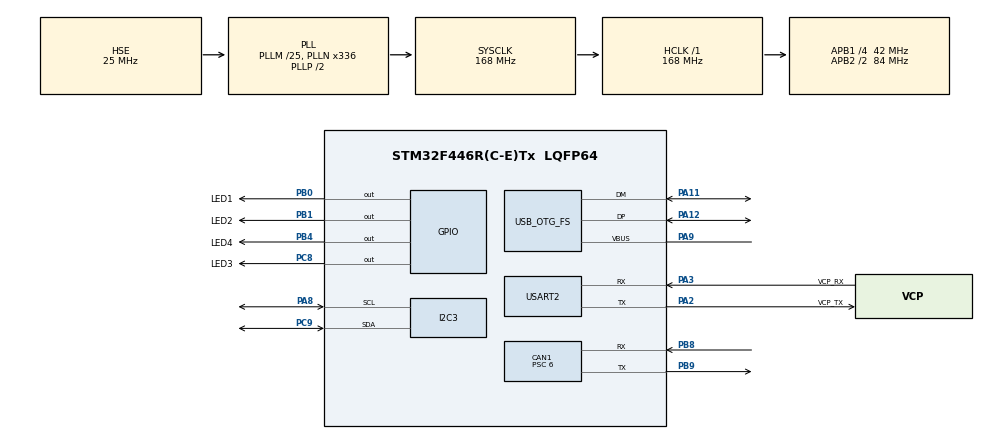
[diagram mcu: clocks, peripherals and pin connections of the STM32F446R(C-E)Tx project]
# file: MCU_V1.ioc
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CAN1.ABOM=ENABLE
CAN1.BS1=CAN_BS1_11TQ
CAN1.BS2=CAN_BS2_2TQ
CAN1.CalculateBaudRate=500000
CAN1.CalculateTimeBit=2000
CAN1.CalculateTimeQuantum=142.85714285714286
CAN1.NART=ENABLE
CAN1.Prescaler=6
Mcu.Family=STM32F4
Mcu.Name=STM32F446R(C-E)Tx
Mcu.Package=LQFP64
NVIC.CAN1_RX0_IRQn=true\:0\:0\:false\:false\:true\:true\:true\:true
NVIC.OTG_FS_IRQn=true\:0\:0\:false\:false\:true\:false\:true\:true
NVIC.PriorityGroup=NVIC_PRIORITYGROUP_4
PA11.Mode=Device_Only
PA11.Signal=USB_OTG_FS_DM
PA12.Mode=Device_Only
PA12.Signal=USB_OTG_FS_DP
PA13.Mode=Trace_Asynchronous_SW
PA13.Signal=SYS_JTMS-SWDIO
PA14.Mode=Trace_Asynchronous_SW
PA14.Signal=SYS_JTCK-SWCLK
PA2.GPIO_Label=VCP_TX
PA2.Mode=Asynchronous
PA2.Signal=USART2_TX
PA3.GPIO_Label=VCP_RX
PA3.Mode=Asynchronous
PA3.Signal=USART2_RX
PA8.GPIO_Mode=GPIO_MODE_AF_OD
PA8.GPIO_Speed=GPIO_SPEED_FREQ_MEDIUM
PA8.Mode=I2C
PA8.Signal=I2C3_SCL
PA9.Mode=Activate_VBUS
PA9.Signal=USB_OTG_FS_VBUS
PB0.GPIO_Label=LED1
PB0.PinState=GPIO_PIN_SET
PB0.Signal=GPIO_Output
PB1.GPIO_Label=LED2
PB1.PinState=GPIO_PIN_SET
PB1.Signal=GPIO_Output
PB3.Mode=Trace_Asynchronous_SW
PB3.Signal=SYS_JTDO-SWO
PB4.GPIO_Label=LED4
PB4.PinState=GPIO_PIN_SET
PB4.Signal=GPIO_Output
PB8.Mode=CAN_Activate
PB8.Signal=CAN1_RX
PB9.Mode=CAN_Activate
PB9.Signal=CAN1_TX
PC8.GPIO_Label=LED3
PC8.PinState=GPIO_PIN_SET
PC8.Signal=GPIO_Output
PC9.GPIO_Speed=GPIO_SPEED_FREQ_MEDIUM
PC9.Mode=I2C
PC9.Signal=I2C3_SDA
PH0-OSC_IN.Mode=HSE-External-Oscillator
PH0-OSC_IN.Signal=RCC_OSC_IN
PH1-OSC_OUT.Mode=HSE-External-Oscillator
PH1-OSC_OUT.Signal=RCC_OSC_OUT
ProjectManager.HeapSize=0x200
ProjectManager.StackSize=0x400
ProjectManager.TargetToolchain=STM32CubeIDE
RCC.AHBFreq_Value=168000000
RCC.APB1CLKDivider=RCC_HCLK_DIV4
RCC.APB1Freq_Value=42000000
RCC.APB1TimFreq_Value=84000000
RCC.APB2CLKDivider=RCC_HCLK_DIV2
RCC.APB2Freq_Value=84000000
RCC.APB2TimFreq_Value=168000000
RCC.CortexFreq_Value=168000000
RCC.HCLKFreq_Value=168000000
RCC.PLLM=25
RCC.PLLN=336
RCC.PLLQ=7
RCC.PLLSourceVirtual=RCC_PLLSOURCE_HSE
RCC.SYSCLKFreq_VALUE=168000000
RCC.SYSCLKSource=RCC_SYSCLKSOURCE_PLLCLK
RCC.USBFreq_Value=48000000
RCC.VCOOutputFreq_Value=336000000
USART2.VirtualMode=VM_ASYNC
USB_DEVICE.CLASS_NAME_FS=CDC
USB_DEVICE.VirtualMode-CDC_FS=Cdc
USB_DEVICE.VirtualModeFS=Cdc_FS
USB_OTG_FS.VirtualMode=Device_Only
VP_USB_DEVICE_VS_USB_DEVICE_CDC_FS.Mode=CDC_FS
board=custom

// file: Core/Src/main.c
/* USER CODE BEGIN Header */
/**
  ******************************************************************************
  * @file           : main.c
  * @brief          : Main program body
  ******************************************************************************
  * @attention
  *
  * Copyright (c) 2026 STMicroelectronics.
  * All rights reserved.
  *
  * This software is licensed under terms that can be found in the LICENSE file
  * in the root directory of this software component.
  * If no LICENSE file comes with this software, it is provided AS-IS.
  *
  ******************************************************************************
  */
/* USER CODE END Header */
#include "main.h"
#include "can.h"
#include "i2c.h"
#include "usart.h"
#include "usb_device.h"
#include "gpio.h"
#include "oled.h"
#include "usb.h"

/* USER CODE BEGIN Includes */
#include "app_stats.h"
#include "app_stress_test.h"
#include "app_protocol.h"
/* USER CODE END Includes */

extern I2C_HandleTypeDef hi2c3; // External declaration for I2C3 handle
OLED_HandleTypeDef holed;

void SystemClock_Config(void);

/* USER CODE BEGIN 0 */
// DWT cycle counter for microsecond timing
#define DWT_CONTROL *(volatile uint32_t*)0xE0001000
#define DWT_CYCCNT  *(volatile uint32_t*)0xE0001004
#define CPU_FREQUENCY_MHZ (SystemCoreClock / 1000000)
/* USER CODE END 0 */

int main(void)
{

  /* MCU Configuration--------------------------------------------------------*/

  /* Reset of all peripherals, Initializes the Flash interface and the Systick. */
  HAL_Init();

  /* Configure the system clock */
  SystemClock_Config();

  /* Initialize all configured peripherals */
  MX_GPIO_Init();
  MX_CAN1_Init();
  MX_I2C3_Init();
  MX_USART2_UART_Init();
  MX_USB_DEVICE_Init();
  /* USER CODE BEGIN 2 */
  // DWT cycle counter enable
  CoreDebug->DEMCR |= CoreDebug_DEMCR_TRCENA_Msk;
  DWT_CONTROL |= 1;

  // Init custom modules
  stats_init();
  protocol_init();
  stress_test_init();

  // Clear OLED and show startup message
  oled_Clear();
  oled_SetCursor(0, 0);
  oled_WriteString("Stress Test FW", Font_11x18, White);
  oled_SetCursor(0, 20);
  oled_WriteString("Starting...", Font_7x10, White);
  oled_UpdateScreen();
  HAL_Delay(1500);

  // Start CAN Peripheral
  if (HAL_CAN_Start(&hcan1) != HAL_OK)
  {
    Error_Handler();
  }

  // Activate CAN RX interrupt
  if (HAL_CAN_ActivateNotification(&hcan1, CAN_IT_RX_FIFO0_MSG_PENDING) != HAL_OK)
  {
    Error_Handler();
  }

  // Activate CAN Error interrupts
  if (HAL_CAN_ActivateNotification(&hcan1, CAN_IT_ERROR_WARNING | CAN_IT_ERROR_PASSIVE | CAN_IT_BUS_OFF | CAN_IT_LAST_ERROR_CODE | CAN_IT_ERROR) != HAL_OK)
  {
      Error_Handler();
  }
  /* USER CODE END 2 */

  /* Infinite loop */
  /* USER CODE BEGIN WHILE */
  uint32_t last_tick = HAL_GetTick();
  uint32_t last_second_tick = last_tick;
  uint32_t loop_start_cycles = 0;

  while (1)
  {
    // --- Timing and Uptime ---
    loop_start_cycles = DWT_CYCCNT;
    uint32_t current_tick = HAL_GetTick();
    if(current_tick != last_tick)
    {
      stats_get()->uptime_ms += (current_tick - last_tick);
      last_tick = current_tick;
    }

    if (current_tick - last_second_tick >= 1000)
    {
        stats_get()->uptime_s++;
        last_second_tick = current_tick;
    }

    stats_get()->main_loop_counter++;

    // --- Application Logic ---
    stress_test_run_slice(); // Runs CPU stress, FRAM test, OLED update
    protocol_run();          // Runs USB and CAN communication

    // --- LED Management ---
    app_stats_t* stats = stats_get();
    // LED1: Heartbeat (toggles every 500ms)
    HAL_GPIO_WritePin(LED1_GPIO_Port, LED1_Pin, (stats->uptime_ms % 1000 < 500));

    // LED2: USB Activity (blink on tx)
    static uint32_t last_usb_tx = 0;
    if (stats->usb_tx_packets > last_usb_tx) {
        HAL_GPIO_WritePin(LED2_GPIO_Port, LED2_Pin, GPIO_PIN_RESET);
        last_usb_tx = stats->usb_tx_packets;
    } else {
        HAL_GPIO_WritePin(LED2_GPIO_Port, LED2_Pin, GPIO_PIN_SET);
    }

    // LED3: CAN Activity (blink on tx/rx)
     static uint32_t last_can_tx = 0;
     static uint32_t last_can_rx = 0;
     if (stats->can_tx_packets > last_can_tx || stats->can_rx_packets > last_can_rx) {
         HAL_GPIO_WritePin(LED3_GPIO_Port, LED3_Pin, GPIO_PIN_RESET);
         last_can_tx = stats->can_tx_packets;
         last_can_rx = stats->can_rx_packets;
     } else {
         HAL_GPIO_WritePin(LED3_GPIO_Port, LED3_Pin, GPIO_PIN_SET);
     }

    // LED4: Error latched
    if (stats->can_busoff_count > 0 || stats->fram_crc_errors > 0 || stats->i2c_errors > 0)
    {
        HAL_GPIO_WritePin(LED4_GPIO_Port, LED4_Pin, GPIO_PIN_RESET); // Error: LED ON
    } else {
        HAL_GPIO_WritePin(LED4_GPIO_Port, LED4_Pin, GPIO_PIN_SET);
    }

    // --- Loop time measurement ---
    uint32_t loop_end_cycles = DWT_CYCCNT;
    uint32_t loop_time_us = (loop_end_cycles - loop_start_cycles) / CPU_FREQUENCY_MHZ;
    stats_update_loop_time(loop_time_us);

    // Small delay to yield CPU time if loop is too fast
    HAL_Delay(1);
    /* USER CODE END WHILE */

  }
}

void SystemClock_Config(void)
{
  RCC_OscInitTypeDef RCC_OscInitStruct = {0};
  RCC_ClkInitTypeDef RCC_ClkInitStruct = {0};

  /** Configure the main internal regulator output voltage
  */
  __HAL_RCC_PWR_CLK_ENABLE();
  __HAL_PWR_VOLTAGESCALING_CONFIG(PWR_REGULATOR_VOLTAGE_SCALE1);

  /** Initializes the RCC Oscillators according to the specified parameters
  * in the RCC_OscInitTypeDef structure.
  */
  RCC_OscInitStruct.OscillatorType = RCC_OSCILLATORTYPE_HSE;
  RCC_OscInitStruct.HSEState = RCC_HSE_ON;
  RCC_OscInitStruct.PLL.PLLState = RCC_PLL_ON;
  RCC_OscInitStruct.PLL.PLLSource = RCC_PLLSOURCE_HSE;
  RCC_OscInitStruct.PLL.PLLM = 25;
  RCC_OscInitStruct.PLL.PLLN = 336;
  RCC_OscInitStruct.PLL.PLLP = RCC_PLLP_DIV2;
  RCC_OscInitStruct.PLL.PLLQ = 7;
  RCC_OscInitStruct.PLL.PLLR = 2;
  if (HAL_RCC_OscConfig(&RCC_OscInitStruct) != HAL_OK)
  {
    Error_Handler();
  }

  /** Initializes the CPU, AHB and APB buses clocks
  */
  RCC_ClkInitStruct.ClockType = RCC_CLOCKTYPE_HCLK|RCC_CLOCKTYPE_SYSCLK
                              |RCC_CLOCKTYPE_PCLK1|RCC_CLOCKTYPE_PCLK2;
  RCC_ClkInitStruct.SYSCLKSource = RCC_SYSCLKSOURCE_PLLCLK;
  RCC_ClkInitStruct.AHBCLKDivider = RCC_SYSCLK_DIV1;
  RCC_ClkInitStruct.APB1CLKDivider = RCC_HCLK_DIV4;
  RCC_ClkInitStruct.APB2CLKDivider = RCC_HCLK_DIV2;

  if (HAL_RCC_ClockConfig(&RCC_ClkInitStruct, FLASH_LATENCY_5) != HAL_OK)
  {
    Error_Handler();
  }
}

/* USER CODE BEGIN 4 */
/**
  * @brief  Rx Fifo 0 message pending callback.
  * @param  hcan: pointer to a CAN_HandleTypeDef structure that contains
  *         the configuration information for the specified CAN.
  * @retval None
  */
void HAL_CAN_RxFifo0MsgPendingCallback(CAN_HandleTypeDef *hcan)
{
  CAN_RxHeaderTypeDef rxHeader;
  uint8_t             rxData[8];

  if (HAL_CAN_GetRxMessage(hcan, CAN_RX_FIFO0, &rxHeader, rxData) == HAL_OK)
  {
    protocol_handle_can_rx(&rxHeader, rxData);
  }
}

/**
  * @brief  CAN error callback.
  * @param  hcan: pointer to a CAN_HandleTypeDef structure that contains
  *         the configuration information for the specified CAN.
  * @retval None
  */
void HAL_CAN_ErrorCallback(CAN_HandleTypeDef *hcan)
{
    app_stats_t* stats = stats_get();
    uint32_t error = HAL_CAN_GetError(hcan);

    if ((error & HAL_CAN_ERROR_EWG) != 0)
    {
        stats->can_error_warning_count++;
    }
    if ((error & HAL_CAN_ERROR_EPV) != 0)
    {
        stats->can_error_passive_count++;
    }
    if ((error & HAL_CAN_ERROR_BOF) != 0)
    {
        stats->can_busoff_count++;
        // Optional: Add recovery logic here, e.g., re-init CAN
        // Be careful not to get stuck in a re-init loop
        // HAL_CAN_ResetError(hcan);
        // HAL_CAN_Start(hcan);
    }
}

/**
  * @brief  This function handles Hard Fault exception.
  * @retval None
  */
void HardFault_Handler(void)
{
  stats_get()->hardfault_count++;
  // Turn on error LED and loop forever
  HAL_GPIO_WritePin(LED4_GPIO_Port, LED4_Pin, GPIO_PIN_RESET);
  while(1)
  {
      for(int i=0; i < 1000000; i++);
      HAL_GPIO_TogglePin(LED4_GPIO_Port, LED4_Pin);
  }
}

/* USER CODE END 4 */

void Error_Handler(void)
{
  __disable_irq();
  while (1)
  {
  }
}
